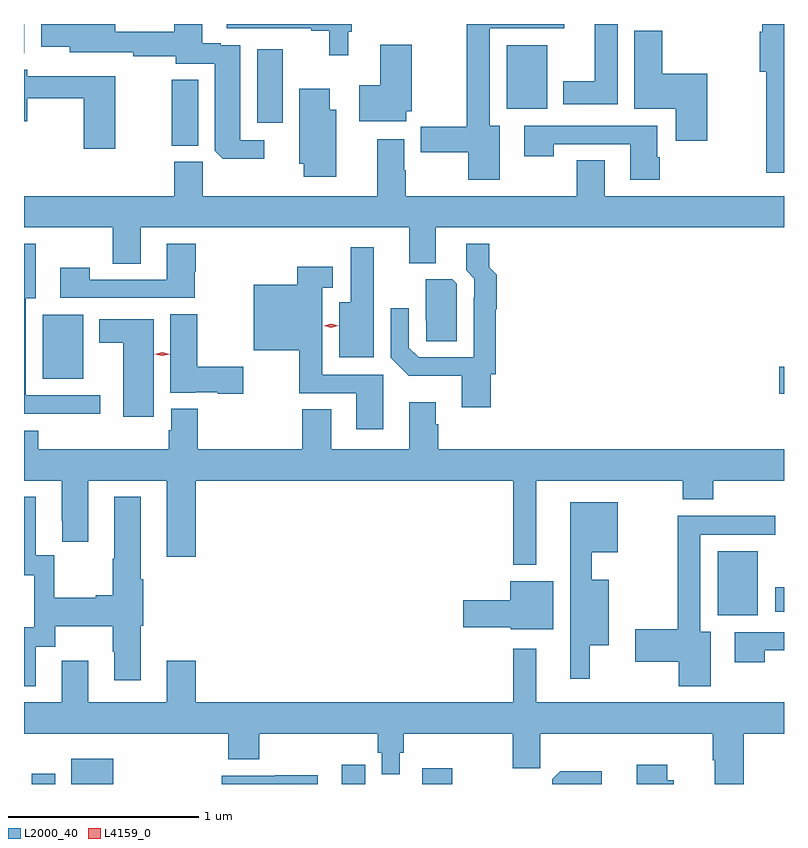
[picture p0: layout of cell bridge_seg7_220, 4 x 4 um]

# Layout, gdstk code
import gdstk
lib = gdstk.Library(unit=1e-6, precision=1e-09)
def R(c, l, rs):  # rectangles x0, y0, x1, y1
    for r in rs: c.add(gdstk.rectangle(r[:2], r[2:], *l))
def P(c, l, *ps):  # polygons
    for p in ps: c.add(gdstk.Polygon(p, *l))
L2000_40 = (2000, 40)
L4159_0 = (4159, 0)

bridge_seg7_220 = lib.new_cell('bridge_seg7_220')
R(bridge_seg7_220, L2000_40, [(350.435,1003.015,350.557,1003.069), (350.642,1003.015,350.862,1003.147), (352.065,1003.015,352.19,1003.117), (352.49,1003.015,352.648,1003.099), (354.044,1003.904,354.256,1004.239), (354.347,1003.922,354.393,1004.05), (354.369,1005.07,354.393,1005.212), (350.492,1005.149,350.704,1005.484), (351.17,1006.375,351.31,1006.721), (351.62,1006.494,351.754,1006.882), (352.934,1006.568,353.146,1006.903), (350.393,1006.862,350.395,1007.015)])
P(bridge_seg7_220, L2000_40, [(354.393,1007.015),(354.278,1007.015),(354.278,1006.974),(354.266,1006.974),(354.266,1006.763),(354.3,1006.763),(354.3,1006.233),(354.393,1006.233)],
  [(351.658,1006.404),(351.532,1006.404),(351.532,1006.902),(351.428,1006.902),(351.428,1006.915),(351.331,1006.915),(351.331,1007.015),(351.184,1007.015),(351.184,1006.975),(350.872,1006.975),(350.872,1007.015),(350.484,1007.015),(350.484,1006.895),(350.633,1006.895),(350.633,1006.866),(350.968,1006.866),(350.968,1006.846),(351.191,1006.846),(351.191,1006.806),(351.398,1006.806),(351.398,1006.348),(351.439,1006.307),(351.658,1006.307)],
  [(353.518,1007.015),(353.396,1007.015),(353.396,1006.714),(353.231,1006.714),(353.231,1006.592),(353.518,1006.592)],
  [(352.897,1006.48),(352.843,1006.48),(352.843,1006.992),(353.236,1006.992),(353.236,1007.015),(352.723,1007.015),(352.723,1006.473),(352.482,1006.473),(352.482,1006.34),(352.73,1006.34),(352.73,1006.194),(352.897,1006.194)],
  [(352.099,1006.974),(352.118,1006.974),(352.118,1007.015),(351.459,1007.015),(351.459,1006.992),(351.905,1006.992),(351.905,1006.98),(352,1006.98),(352,1006.851),(352.099,1006.851)],
  [(353.988,1006.753),(353.753,1006.753),(353.753,1006.98),(353.606,1006.98),(353.606,1006.568),(353.822,1006.568),(353.822,1006.401),(353.988,1006.401)],
  [(352.406,1006.557),(352.434,1006.557),(352.434,1006.906),(352.268,1006.906),(352.268,1006.693),(352.157,1006.693),(352.157,1006.503),(352.406,1006.503)],
  [(350.872,1006.74),(350.41,1006.74),(350.41,1006.774),(350.393,1006.774),(350.393,1006.502),(350.41,1006.502),(350.41,1006.624),(350.707,1006.624),(350.707,1006.359),(350.872,1006.359)],
  [(352.036,1006.564),(352.003,1006.564),(352.003,1006.675),(351.842,1006.675),(351.842,1006.28),(351.866,1006.28),(351.866,1006.212),(352.036,1006.212)],
  [(353.738,1006.313),(353.725,1006.313),(353.725,1006.479),(353.025,1006.479),(353.025,1006.32),(353.181,1006.32),(353.181,1006.383),(353.585,1006.383),(353.585,1006.194),(353.738,1006.194)],
  [(351.007,1005.944),(352.421,1005.944),(352.421,1005.757),(352.561,1005.757),(352.561,1005.944),(354.393,1005.944),(354.393,1006.108),(353.449,1006.108),(353.449,1006.298),(353.302,1006.298),(353.302,1006.108),(352.401,1006.108),(352.401,1006.244),(352.393,1006.244),(352.393,1006.408),(352.253,1006.408),(352.253,1006.108),(351.335,1006.108),(351.335,1006.29),(351.185,1006.29),(351.185,1006.108),(350.393,1006.108),(350.393,1005.944),(350.86,1005.944),(350.86,1005.754),(351.007,1005.754)],
  [(351.291,1005.711),(351.296,1005.711),(351.296,1005.859),(351.143,1005.859),(351.143,1005.669),(350.739,1005.669),(350.739,1005.733),(350.583,1005.733),(350.583,1005.573),(351.291,1005.573)],
  [(350.794,1005.06),(350.401,1005.06),(350.401,1005.572),(350.455,1005.572),(350.455,1005.859),(350.393,1005.859),(350.393,1004.963),(350.794,1004.963)],
  [(352.85,1005.171),(352.877,1005.171),(352.877,1005.514),(352.88,1005.514),(352.88,1005.696),(352.841,1005.735),(352.841,1005.859),(352.721,1005.859),(352.721,1005.718),(352.764,1005.675),(352.764,1005.575),(352.761,1005.575),(352.761,1005.261),(352.47,1005.261),(352.419,1005.312),(352.419,1005.52),(352.323,1005.52),(352.323,1005.258),(352.417,1005.164),(352.697,1005.164),(352.697,1004.997),(352.85,1004.997)],
  [(352.234,1005.841),(352.112,1005.841),(352.112,1005.55),(352.052,1005.55),(352.052,1005.26),(352.234,1005.26)],
  [(352.285,1005.168),(351.964,1005.168),(351.964,1005.627),(352.018,1005.627),(352.018,1005.737),(351.83,1005.737),(351.83,1005.643),(351.602,1005.643),(351.602,1005.299),(351.842,1005.299),(351.842,1005.072),(352.142,1005.072),(352.142,1004.883),(352.285,1004.883)],
  [(352.671,1005.648),(352.647,1005.672),(352.508,1005.672),(352.508,1005.457),(352.509,1005.457),(352.509,1005.346),(352.671,1005.346)],
  [(351.547,1005.212),(351.306,1005.212),(351.306,1005.488),(351.164,1005.488),(351.164,1005.074),(351.294,1005.074),(351.294,1005.077),(351.414,1005.077),(351.414,1005.07),(351.547,1005.07)],
  [(351.076,1005.46),(350.789,1005.46),(350.789,1005.338),(350.915,1005.338),(350.915,1004.948),(351.076,1004.948)],
  [(350.468,1004.875),(350.393,1004.875),(350.393,1004.612),(350.591,1004.612),(350.591,1004.401),(350.594,1004.401),(350.594,1004.289),(350.731,1004.289),(350.731,1004.612),(351.143,1004.612),(351.143,1004.211),(351.296,1004.211),(351.296,1004.612),(352.968,1004.612),(352.968,1004.168),(353.089,1004.168),(353.089,1004.612),(353.86,1004.612),(353.86,1004.513),(354.02,1004.513),(354.02,1004.612),(354.393,1004.612),(354.393,1004.776),(352.574,1004.776),(352.574,1004.909),(352.561,1004.909),(352.561,1005.025),(352.421,1005.025),(352.421,1004.776),(352.009,1004.776),(352.009,1004.987),(351.857,1004.987),(351.857,1004.776),(351.308,1004.776),(351.308,1004.989),(351.167,1004.989),(351.167,1004.877),(351.155,1004.877),(351.155,1004.776),(350.468,1004.776)],
  [(350.455,1003.738),(350.557,1003.738),(350.557,1003.844),(350.86,1003.844),(350.86,1003.71),(350.867,1003.71),(350.867,1003.56),(351.007,1003.56),(351.007,1003.848),(351.02,1003.848),(351.02,1004.092),(351.007,1004.092),(351.007,1004.527),(350.867,1004.527),(350.867,1004.201),(350.86,1004.201),(350.86,1004.009),(350.771,1004.009),(350.771,1003.996),(350.553,1003.996),(350.553,1004.219),(350.455,1004.219),(350.455,1004.527),(350.393,1004.527),(350.393,1004.115),(350.448,1004.115),(350.448,1003.839),(350.393,1003.839),(350.393,1003.53),(350.455,1003.53)],
  [(353.371,1003.745),(353.47,1003.745),(353.47,1004.089),(353.381,1004.089),(353.381,1004.234),(353.518,1004.234),(353.518,1004.497),(353.267,1004.497),(353.267,1003.569),(353.371,1003.569)],
  [(354.007,1003.816),(353.953,1003.816),(353.953,1004.328),(354.346,1004.328),(354.346,1004.426),(353.833,1004.426),(353.833,1003.829),(353.61,1003.829),(353.61,1003.658),(353.84,1003.658),(353.84,1003.53),(354.007,1003.53)],
  [(353.179,1004.083),(352.952,1004.083),(352.952,1003.982),(352.704,1003.982),(352.704,1003.84),(352.956,1003.84),(352.956,1003.829),(353.179,1003.829)],
  [(354.291,1003.719),(354.393,1003.719),(354.393,1003.815),(354.135,1003.815),(354.135,1003.656),(354.291,1003.656)],
  [(354.182,1003.28),(354.393,1003.28),(354.393,1003.444),(353.089,1003.444),(353.089,1003.726),(352.968,1003.726),(352.968,1003.444),(351.296,1003.444),(351.296,1003.663),(351.143,1003.663),(351.143,1003.444),(350.731,1003.444),(350.731,1003.663),(350.591,1003.663),(350.591,1003.444),(350.393,1003.444),(350.393,1003.28),(351.467,1003.28),(351.467,1003.144),(351.632,1003.144),(351.632,1003.28),(352.255,1003.28),(352.255,1003.179),(352.275,1003.179),(352.275,1003.067),(352.371,1003.067),(352.371,1003.179),(352.391,1003.179),(352.391,1003.28),(352.966,1003.28),(352.966,1003.099),(353.111,1003.099),(353.111,1003.28),(354.017,1003.28),(354.017,1003.139),(354.029,1003.139),(354.029,1003.015),(354.182,1003.015)],
  [(353.812,1003.036),(353.779,1003.036),(353.779,1003.117),(353.618,1003.117),(353.618,1003.015),(353.812,1003.015)],
  [(353.434,1003.082),(353.215,1003.082),(353.174,1003.04),(353.174,1003.015),(353.434,1003.015)],
  [(351.94,1003.062),(351.715,1003.062),(351.715,1003.059),(351.435,1003.059),(351.435,1003.015),(351.94,1003.015)])
P(bridge_seg7_220, L4159_0, [(352.009,1005.417),(351.971,1005.427),(351.971,1005.427),(351.971,1005.427),(352.009,1005.437),(352.047,1005.427),(352.047,1005.427),(352.047,1005.427)],
  [(351.12,1005.268),(351.08,1005.277),(351.08,1005.278),(351.08,1005.278),(351.12,1005.288),(351.16,1005.278),(351.16,1005.278),(351.16,1005.278)])

lib.write_gds('bridge_seg7_220.gds')
